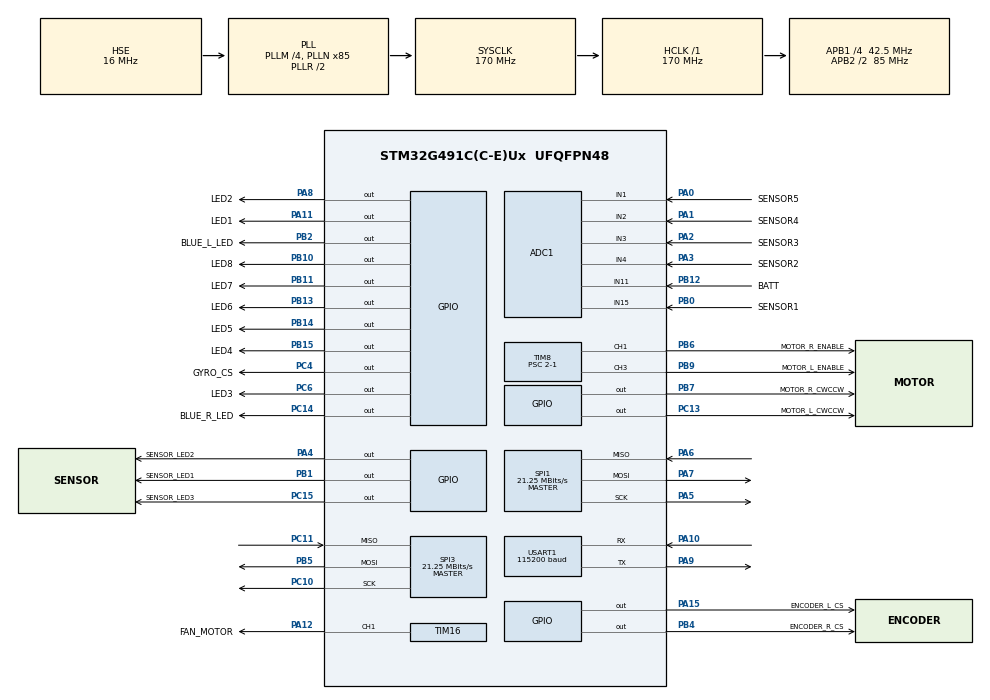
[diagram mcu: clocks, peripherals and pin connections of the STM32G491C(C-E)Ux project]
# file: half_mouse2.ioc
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ADC1.Channel-1\#ChannelRegularConversion=ADC_CHANNEL_11
ADC1.Channel-2\#ChannelRegularConversion=ADC_CHANNEL_15
ADC1.Channel-3\#ChannelRegularConversion=ADC_CHANNEL_4
ADC1.Channel-4\#ChannelRegularConversion=ADC_CHANNEL_3
ADC1.Channel-5\#ChannelRegularConversion=ADC_CHANNEL_2
ADC1.Channel-6\#ChannelRegularConversion=ADC_CHANNEL_1
ADC1.ClockPrescaler=ADC_CLOCK_SYNC_PCLK_DIV4
ADC1.ContinuousConvMode=ENABLE
ADC1.DMAContinuousRequests=ENABLE
ADC1.DiscontinuousConvMode=DISABLE
ADC1.EOCSelection=ADC_EOC_SEQ_CONV
ADC1.GainCompensation=0
ADC1.NbrOfConversion=6
ADC1.NbrOfConversionFlag=1
ADC1.OffsetNumber-1\#ChannelRegularConversion=ADC_OFFSET_NONE
ADC1.OffsetNumber-2\#ChannelRegularConversion=ADC_OFFSET_NONE
ADC1.OffsetNumber-3\#ChannelRegularConversion=ADC_OFFSET_NONE
ADC1.OffsetNumber-4\#ChannelRegularConversion=ADC_OFFSET_NONE
ADC1.OffsetNumber-5\#ChannelRegularConversion=ADC_OFFSET_NONE
ADC1.OffsetNumber-6\#ChannelRegularConversion=ADC_OFFSET_NONE
ADC1.Overrun=ADC_OVR_DATA_PRESERVED
ADC1.Rank-1\#ChannelRegularConversion=1
ADC1.Rank-2\#ChannelRegularConversion=2
ADC1.Rank-3\#ChannelRegularConversion=3
ADC1.Rank-4\#ChannelRegularConversion=4
ADC1.Rank-5\#ChannelRegularConversion=5
ADC1.Rank-6\#ChannelRegularConversion=6
ADC1.SamplingTime-1\#ChannelRegularConversion=ADC_SAMPLETIME_6CYCLES_5
ADC1.SamplingTime-2\#ChannelRegularConversion=ADC_SAMPLETIME_6CYCLES_5
ADC1.SamplingTime-3\#ChannelRegularConversion=ADC_SAMPLETIME_6CYCLES_5
ADC1.SamplingTime-4\#ChannelRegularConversion=ADC_SAMPLETIME_6CYCLES_5
ADC1.SamplingTime-5\#ChannelRegularConversion=ADC_SAMPLETIME_6CYCLES_5
ADC1.SamplingTime-6\#ChannelRegularConversion=ADC_SAMPLETIME_6CYCLES_5
ADC1.master=1
Dma.ADC1.0.Direction=DMA_PERIPH_TO_MEMORY
Dma.ADC1.0.EventEnable=DISABLE
Dma.ADC1.0.Instance=DMA1_Channel1
Dma.ADC1.0.MemDataAlignment=DMA_MDATAALIGN_HALFWORD
Dma.ADC1.0.MemInc=DMA_MINC_ENABLE
Dma.ADC1.0.Mode=DMA_CIRCULAR
Dma.ADC1.0.PeriphDataAlignment=DMA_PDATAALIGN_HALFWORD
Dma.ADC1.0.PeriphInc=DMA_PINC_DISABLE
Dma.ADC1.0.Polarity=HAL_DMAMUX_REQ_GEN_RISING
Dma.ADC1.0.Priority=DMA_PRIORITY_HIGH
Dma.ADC1.0.RequestNumber=1
Dma.ADC1.0.SignalID=NONE
Dma.ADC1.0.SyncEnable=DISABLE
Dma.ADC1.0.SyncPolarity=HAL_DMAMUX_SYNC_NO_EVENT
Dma.ADC1.0.SyncRequestNumber=1
Dma.ADC1.0.SyncSignalID=NONE
Dma.Request0=ADC1
Mcu.Family=STM32G4
Mcu.Name=STM32G491C(C-E)Ux
Mcu.Package=UFQFPN48
NVIC.ADC1_2_IRQn=true\:0\:0\:false\:false\:true\:true\:true\:true
NVIC.DMA1_Channel1_IRQn=true\:0\:0\:false\:false\:true\:false\:true\:true
NVIC.PriorityGroup=NVIC_PRIORITYGROUP_4
<<<<<<< HEAD
=======
>>>>>>> master
NVIC.TIM6_DAC_IRQn=true\:3\:0\:true\:false\:true\:true\:true\:true
PA0.GPIO_Label=SENSOR5
PA0.Mode=IN1-Single-Ended
PA0.Signal=ADC1_IN1
PA1.GPIO_Label=SENSOR4
PA1.Mode=IN2-Single-Ended
PA1.Signal=ADC1_IN2
PA10.Mode=Asynchronous
PA10.Signal=USART1_RX
PA11.GPIO_Label=LED1
PA11.Signal=GPIO_Output
PA12.GPIO_Label=FAN_MOTOR
PA12.Signal=S_TIM16_CH1
PA13.Mode=Trace_Asynchronous_SW
PA13.Signal=SYS_JTMS-SWDIO
PA14.Mode=Trace_Asynchronous_SW
PA14.Signal=SYS_JTCK-SWCLK
PA15.GPIO_Label=ENCODER_L_CS
PA15.Signal=GPIO_Output
PA2.GPIO_Label=SENSOR3
PA2.Mode=IN3-Single-Ended
PA2.Signal=ADC1_IN3
PA3.GPIO_Label=SENSOR2
PA3.Mode=IN4-Single-Ended
PA3.Signal=ADC1_IN4
PA4.GPIO_Label=SENSOR_LED2
PA4.Signal=GPIO_Output
PA5.Mode=Full_Duplex_Master
PA5.Signal=SPI1_SCK
PA6.Mode=Full_Duplex_Master
PA6.Signal=SPI1_MISO
PA7.Mode=Full_Duplex_Master
PA7.Signal=SPI1_MOSI
PA8.GPIO_Label=LED2
PA8.Signal=GPIO_Output
PA9.Mode=Asynchronous
PA9.Signal=USART1_TX
PB0.GPIO_Label=SENSOR1
PB0.Mode=IN15-Single-Ended
PB0.Signal=ADC1_IN15
PB1.GPIO_Label=SENSOR_LED1
PB1.Signal=GPIO_Output
PB10.GPIO_Label=LED8
PB10.Signal=GPIO_Output
PB11.GPIO_Label=LED7
PB11.Signal=GPIO_Output
PB12.GPIO_Label=BATT
PB12.Mode=IN11-Single-Ended
PB12.Signal=ADC1_IN11
PB13.GPIO_Label=LED6
PB13.Signal=GPIO_Output
PB14.GPIO_Label=LED5
PB14.Signal=GPIO_Output
PB15.GPIO_Label=LED4
PB15.Signal=GPIO_Output
PB2.GPIO_Label=BLUE_L_LED
PB2.Signal=GPIO_Output
PB3.Mode=Trace_Asynchronous_SW
PB3.Signal=SYS_JTDO-SWO
PB4.GPIO_Label=ENCODER_R_CS
PB4.Signal=GPIO_Output
PB5.Mode=Full_Duplex_Master
PB5.Signal=SPI3_MOSI
PB6.GPIO_Label=MOTOR_R_ENABLE
PB6.Signal=S_TIM8_CH1
PB7.GPIO_Label=MOTOR_R_CWCCW
PB7.Signal=GPIO_Output
PB9.GPIO_Label=MOTOR_L_ENABLE
PB9.Signal=S_TIM8_CH3
PC10.Mode=Full_Duplex_Master
PC10.Signal=SPI3_SCK
PC11.Mode=Full_Duplex_Master
PC11.Signal=SPI3_MISO
PC13.GPIO_Label=MOTOR_L_CWCCW
PC13.Signal=GPIO_Output
PC14-OSC32_IN.GPIO_Label=BLUE_R_LED
PC14-OSC32_IN.Signal=GPIO_Output
PC15-OSC32_OUT.GPIO_Label=SENSOR_LED3
PC15-OSC32_OUT.Signal=GPIO_Output
PC4.GPIO_Label=GYRO_CS
PC4.Signal=GPIO_Output
PC6.GPIO_Label=LED3
PC6.Signal=GPIO_Output
PF0-OSC_IN.Mode=HSE-External-Oscillator
PF0-OSC_IN.Signal=RCC_OSC_IN
PF1-OSC_OUT.Mode=HSE-External-Oscillator
PF1-OSC_OUT.Signal=RCC_OSC_OUT
ProjectManager.HeapSize=0x200
ProjectManager.StackSize=0x400
ProjectManager.TargetToolchain=STM32CubeIDE
RCC.ADC12Freq_Value=170000000
RCC.ADC345Freq_Value=170000000
RCC.AHBFreq_Value=170000000
RCC.APB1CLKDivider=RCC_HCLK_DIV4
RCC.APB1Freq_Value=42500000
RCC.APB1TimFreq_Value=85000000
RCC.APB2CLKDivider=RCC_HCLK_DIV2
RCC.APB2Freq_Value=85000000
RCC.APB2TimFreq_Value=170000000
RCC.CodegenConfigPeriph=true
RCC.CortexFreq_Value=170000000
RCC.EXTERNAL_CLOCK_VALUE=12288000
RCC.HCLKFreq_Value=170000000
RCC.HSE_VALUE=16000000
RCC.HSI48_VALUE=48000000
RCC.HSICalibrationValue=64
RCC.HSI_VALUE=16000000
<<<<<<< HEAD
=======
>>>>>>> master
RCC.LSE_VALUE=32768
RCC.PLLM=RCC_PLLM_DIV4
RCC.PLLN=85
RCC.PLLSourceVirtual=RCC_PLLSOURCE_HSE
RCC.PREFETCH_ENABLE=1
RCC.RCC_TIM_PRescaler_Selection=RCC_TIMPRES_DESACTIVATED
RCC.SYSCLKFreq_VALUE=170000000
RCC.SYSCLKSource=RCC_SYSCLKSOURCE_PLLCLK
RCC.USBFreq_Value=48000000
RCC.VCOOutputFreq_Value=340000000
SH.S_TIM16_CH1.0=TIM16_CH1,PWM Generation1 CH1
SH.S_TIM8_CH1.0=TIM8_CH1,PWM Generation1 CH1
SH.S_TIM8_CH3.0=TIM8_CH3,PWM Generation3 CH3
<<<<<<< HEAD
SPI1.BaudRatePrescaler=SPI_BAUDRATEPRESCALER_8
SPI1.CLKPhase=SPI_PHASE_1EDGE
SPI1.CLKPolarity=SPI_POLARITY_LOW
SPI1.CalculateBaudRate=10.625 MBits/s
=======
SPI1.BaudRatePrescaler=SPI_BAUDRATEPRESCALER_4
SPI1.CLKPhase=SPI_PHASE_1EDGE
SPI1.CalculateBaudRate=21.25 MBits/s
>>>>>>> master
SPI1.Direction=SPI_DIRECTION_2LINES
SPI1.Mode=SPI_MODE_MASTER
SPI1.VirtualType=VM_MASTER
<<<<<<< HEAD
SPI3.BaudRatePrescaler=SPI_BAUDRATEPRESCALER_4
SPI3.CLKPhase=SPI_PHASE_2EDGE
SPI3.CalculateBaudRate=10.625 MBits/s
=======
SPI3.BaudRatePrescaler=SPI_BAUDRATEPRESCALER_2
SPI3.CLKPhase=SPI_PHASE_2EDGE
SPI3.CalculateBaudRate=21.25 MBits/s
>>>>>>> master
SPI3.DataSize=SPI_DATASIZE_8BIT
SPI3.Direction=SPI_DIRECTION_2LINES
SPI3.Mode=SPI_MODE_MASTER
SPI3.VirtualType=VM_MASTER
TIM16.Channel=TIM_CHANNEL_1
TIM16.PeriodNoDither=100
TIM16.Prescaler=2-1
TIM16.PulseNoDither_1=30
TIM6.PeriodNoDither=1000-1
TIM6.Prescaler=85-1
TIM8.Channel-PWM\ Generation1\ CH1=TIM_CHANNEL_1
TIM8.Channel-PWM\ Generation3\ CH3=TIM_CHANNEL_3
TIM8.PeriodNoDither=1680-1
TIM8.Prescaler=2-1
TIM8.PulseNoDither_1=420-1
TIM8.PulseNoDither_3=420-1
USART1.BaudRate=115200
USART1.VirtualMode-Asynchronous=VM_ASYNC
VP_SYS_VS_DBSignals.Mode=DisableDeadBatterySignals
VP_TIM16_VS_ClockSourceINT.Mode=Enable_Timer
VP_TIM6_VS_ClockSourceINT.Mode=Enable_Timer
board=custom

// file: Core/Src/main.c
/* USER CODE BEGIN Header */
/**
  ******************************************************************************
  * @file           : main.c
  * @brief          : Main program body
  ******************************************************************************
  * @attention
  *
  * Copyright (c) 2022 STMicroelectronics.
  * All rights reserved.
  *
  * This software is licensed under terms that can be found in the LICENSE file
  * in the root directory of this software component.
  * If no LICENSE file comes with this software, it is provided AS-IS.
  *
  ******************************************************************************
  */
/* USER CODE END Header */
#include "main.h"
#include "adc.h"
#include "dma.h"
#include "spi.h"
#include "tim.h"
#include "usart.h"
#include "gpio.h"

/* USER CODE BEGIN Includes */
#include "stdio.h"
#include "PL_LED.h"
#include "PL_timer.h"
#include "PL_gyro.h"
#include "PL_encoder.h"
#include "PL_sensor.h"
#include "PL_flash.h"
#include "PL_motor.h"
#include "CL_gyro.h"
#include "CL_encoder.h"
#include "CL_sensor.h"
#include "PID_EncoderGyro.h"
#include "PID_wall.h"
#include "Control_motor.h"
#include "record.h"
#include "mode_select.h"
#include "turning_parameter.h"
#include "fail_safe.h"
/* USER CODE END Includes */

/* USER CODE BEGIN PV */
	uint16_t mode2;
/* USER CODE END PV */

void SystemClock_Config(void);

int main(void)
{

  /* MCU Configuration--------------------------------------------------------*/

  /* Reset of all peripherals, Initializes the Flash interface and the Systick. */
  HAL_Init();

  /* Configure the system clock */
  SystemClock_Config();

  /* USER CODE BEGIN SysInit */
  MX_DMA_Init();
  /* USER CODE END SysInit */

  /* Initialize all configured peripherals */
  MX_GPIO_Init();
  MX_ADC1_Init();
  MX_SPI1_Init();
  MX_TIM6_Init();
  MX_TIM8_Init();
  MX_USART1_UART_Init();
  MX_DMA_Init();
  MX_SPI3_Init();
  MX_TIM16_Init();
  /* USER CODE BEGIN 2 */
  pl_timer_init();
  pl_gyro_init();
  pl_sensor_init();
  reset_distance();
  reset_gyro();
  reset_speed();
  record_reset();
  pl_motor_init();
  PID_Init();
  init_WallControl();
  Control_mode_Init();
  init_FailSafe();
  input_parameter();

	//uint8_t hello[] = "Hello World\n\r";
  //float PI=3.14;
  //uint8_t hoge = 3;
  int mode=0;
  int a=0;
	printf("ON_SEN1=%d,SEN2=%d,SEN3=%d,SEN4=%d,SEN5=%d\n", g_sensor_on[0],
							g_sensor_on[1], g_sensor_on[2], g_sensor_on[3], g_sensor_on[4]);
	printf("OFF_SEN1=%d,SEN2=%d,SEN3=%d,SEN4=%d,SEN5=%d\n", g_sensor_off[0],
							g_sensor_off[1], g_sensor_off[2], g_sensor_off[3], g_sensor_off[4]);

//起動cheak
	int yellow_count=1;
	for(int i=0;i<8;i++){
		pl_yellow_LED_count(yellow_count);
		HAL_Delay(50);
		yellow_count=yellow_count*2;
	}
	for(int i=0;i<9;i++){
			pl_yellow_LED_count(yellow_count);
			HAL_Delay(50);
			yellow_count=yellow_count/2;
	}
	battcheak();
  /* USER CODE END 2 */

  /* Infinite loop */
  while (1)
  {

    /* USER CODE BEGIN 3 */
//		tic_timer();
//		for(int j=0;j<50000;j++){
//			a=a+1;
//		}
//		float tim1 = toc_timer();
//		printf("tim1=%f\n", tim1);
//
//		tic_timer();
//		for(int j=0;j<5000;j++){
//		create_StepCountMap_queue();
//		}
//		float tim2 = toc_timer();
//		maze_display();
//		printf("tim2=%f\n", tim2);
//		tic_timer();
//		for(int j=0;j<5000;j++){
//		//create_StepCountMap();
//		//maze_clear();
//		//create_DijkstraMap();
//		route_Dijkstra();
//		create_StepCountMap_unknown();
//
//		}
//		tim1 = toc_timer();
//		maze_display();
//		maze_display_Dijkstra();
//		printf("tim1=%f,tim2=%f\n", tim1, tim2);

	  		mode=mode_decision(mode);
//	  		clear_Ierror();
	  		reset_distance();
	  		reset_gyro();
	  		reset_speed();

	  		mode_execution(mode);

// failsafe後の修理
	  		Control_mode_Init();
	  		init_WallControl();
	  		init_FailSafe();

	  		// test USART
	  	//HAL_UART_Transmit(&huart1, hello, sizeof(hello), 1000);
	  	//printf("hello=%s", hello);
	  	//printf("hoge=%d\n\r", hoge);
	  	//printf("M_PI=%f\n\r", PI);
	  	// test GYRO
//	  	ICM20602_DataUpdate();
//	  	printf("gyro x : %5.5f, y : %5.5f,z : %5.5f, accel x : %5.5f, y :%5.5f, z : %5.5f\r",
//	  			gyro.omega_x, gyro.omega_y, gyro.omega_z, gyro.accel_x,gyro.accel_y, gyro.accel_z);
	  	// test ENCODER
	  	//AS5047_DataUpdate();
	  	//printf("encoderR : %5.5f, encoderL : %5.5f\r", encoder_R,encoder_L);

	  	//printf("E_distance_R : %5.5f, E_distance_L : %5.5f\r", E_distanceR,E_distanceL);
		//sensor
//	  	for(int i=0; i<6; i++){
//	  	        HAL_ADC_Start(&hadc1);
//	  	        HAL_ADC_PollForConversion(&hadc1, 100);
//	  	      g_ADCBuffer[i] = HAL_ADC_GetValue(&hadc1);
//	  	    }
	  	//HAL_ADC_Stop(&hadc1);
//		  HAL_ADC_Stop_DMA(&hadc1);
//	  	if (HAL_ADC_Start_DMA(&hadc1, (uint32_t*)(g_ADCBuffer),6) != HAL_OK)
//		  {
//		    Error_Handler();
//		  }

//		printf("BATT=%d,SEN1=%d,SEN2=%d,SEN3=%d,SEN4=%d,SEN5=%d\n", g_ADCBuffer[0],
//				g_ADCBuffer[1], g_ADCBuffer[2], g_ADCBuffer[3], g_ADCBuffer[4], g_ADCBuffer[5]);

//		printf("ON_SEN1=%d,SEN2=%d,SEN3=%d,SEN4=%d,SEN5=%d\n", g_sensor_on[0],
//								g_sensor_on[1], g_sensor_on[2], g_sensor_on[3], g_sensor_on[4]);
//		printf("OFF_SEN1=%d,SEN2=%d,SEN3=%d,SEN4=%d,SEN5=%d\n", g_sensor_off[0],
//								g_sensor_off[1], g_sensor_off[2], g_sensor_off[3], g_sensor_off[4]);
//		if(g_sensor_on[0]>800 && g_sensor_on[2]>800 && g_sensor_on[4]>800){
//					HAL_GPIO_WritePin(MOTOR_L_CWCCW_GPIO_Port,MOTOR_L_CWCCW_Pin,GPIO_PIN_RESET);
//					HAL_GPIO_WritePin(MOTOR_R_CWCCW_GPIO_Port,MOTOR_R_CWCCW_Pin,GPIO_PIN_SET);
//					HAL_TIM_PWM_Start(&htim8, TIM_CHANNEL_1);
//					HAL_TIM_PWM_Start(&htim8, TIM_CHANNEL_3);
//					wait_ms(2000);
//					HAL_TIM_PWM_Stop(&htim8, TIM_CHANNEL_1);
//					HAL_TIM_PWM_Stop(&htim8, TIM_CHANNEL_3);
//		}
//		wait_ms(10000);
		//HAL_TIM_PWM_Start(&htim16, TIM_CHANNEL_1);
//		HAL_GPIO_WritePin(MOTOR_L_CWCCW_GPIO_Port,MOTOR_L_CWCCW_Pin,GPIO_PIN_SET);
//		HAL_GPIO_WritePin(MOTOR_R_CWCCW_GPIO_Port,MOTOR_R_CWCCW_Pin,GPIO_PIN_SET);
//		HAL_TIM_PWM_Start(&htim8, TIM_CHANNEL_1);
//		HAL_TIM_PWM_Start(&htim8, TIM_CHANNEL_3);
//		wait_ms(6000);
//		HAL_TIM_PWM_Stop(&htim16, TIM_CHANNEL_1);
//		HAL_TIM_PWM_Stop(&htim8, TIM_CHANNEL_1);
//		HAL_TIM_PWM_Stop(&htim8, TIM_CHANNEL_3);

  }
  /* USER CODE END 3 */
}

void SystemClock_Config(void)
{
  RCC_OscInitTypeDef RCC_OscInitStruct = {0};
  RCC_ClkInitTypeDef RCC_ClkInitStruct = {0};

  /** Configure the main internal regulator output voltage
  */
  HAL_PWREx_ControlVoltageScaling(PWR_REGULATOR_VOLTAGE_SCALE1_BOOST);

  /** Initializes the RCC Oscillators according to the specified parameters
  * in the RCC_OscInitTypeDef structure.
  */
  RCC_OscInitStruct.OscillatorType = RCC_OSCILLATORTYPE_HSE;
  RCC_OscInitStruct.HSEState = RCC_HSE_ON;
  RCC_OscInitStruct.PLL.PLLState = RCC_PLL_ON;
  RCC_OscInitStruct.PLL.PLLSource = RCC_PLLSOURCE_HSE;
  RCC_OscInitStruct.PLL.PLLM = RCC_PLLM_DIV4;
  RCC_OscInitStruct.PLL.PLLN = 85;
  RCC_OscInitStruct.PLL.PLLP = RCC_PLLP_DIV2;
  RCC_OscInitStruct.PLL.PLLQ = RCC_PLLQ_DIV2;
  RCC_OscInitStruct.PLL.PLLR = RCC_PLLR_DIV2;
  if (HAL_RCC_OscConfig(&RCC_OscInitStruct) != HAL_OK)
  {
    Error_Handler();
  }

  /** Initializes the CPU, AHB and APB buses clocks
  */
  RCC_ClkInitStruct.ClockType = RCC_CLOCKTYPE_HCLK|RCC_CLOCKTYPE_SYSCLK
                              |RCC_CLOCKTYPE_PCLK1|RCC_CLOCKTYPE_PCLK2;
  RCC_ClkInitStruct.SYSCLKSource = RCC_SYSCLKSOURCE_PLLCLK;
  RCC_ClkInitStruct.AHBCLKDivider = RCC_SYSCLK_DIV1;
  RCC_ClkInitStruct.APB1CLKDivider = RCC_HCLK_DIV4;
  RCC_ClkInitStruct.APB2CLKDivider = RCC_HCLK_DIV2;

  if (HAL_RCC_ClockConfig(&RCC_ClkInitStruct, FLASH_LATENCY_4) != HAL_OK)
  {
    Error_Handler();
  }
}

void Error_Handler(void)
{
  __disable_irq();
  while (1)
  {
  }
}
